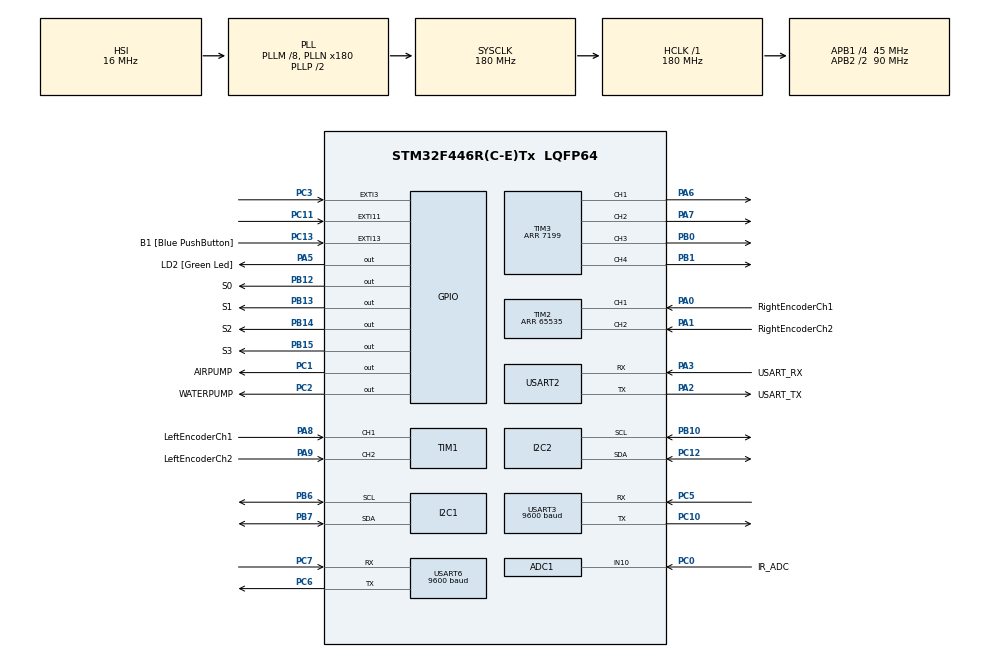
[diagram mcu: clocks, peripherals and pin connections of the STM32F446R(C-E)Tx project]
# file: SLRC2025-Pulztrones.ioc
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ADC1.Channel-0\#ChannelRegularConversion=ADC_CHANNEL_10
ADC1.ContinuousConvMode=ENABLE
ADC1.NbrOfConversionFlag=1
ADC1.Rank-0\#ChannelRegularConversion=1
ADC1.SamplingTime-0\#ChannelRegularConversion=ADC_SAMPLETIME_3CYCLES
ADC1.master=1
Dma.Request0=USART6_RX
Dma.USART6_RX.0.Direction=DMA_PERIPH_TO_MEMORY
Dma.USART6_RX.0.FIFOMode=DMA_FIFOMODE_DISABLE
Dma.USART6_RX.0.Instance=DMA2_Stream1
Dma.USART6_RX.0.MemDataAlignment=DMA_MDATAALIGN_BYTE
Dma.USART6_RX.0.MemInc=DMA_MINC_ENABLE
Dma.USART6_RX.0.Mode=DMA_NORMAL
Dma.USART6_RX.0.PeriphDataAlignment=DMA_PDATAALIGN_BYTE
Dma.USART6_RX.0.PeriphInc=DMA_PINC_DISABLE
Dma.USART6_RX.0.Priority=DMA_PRIORITY_LOW
I2C1.I2C_Mode=I2C_Fast
I2C2.I2C_Mode=I2C_Standard
Mcu.Family=STM32F4
Mcu.Name=STM32F446R(C-E)Tx
Mcu.Package=LQFP64
NVIC.DMA2_Stream1_IRQn=true\:0\:0\:false\:false\:true\:false\:true\:true
NVIC.EXTI15_10_IRQn=true\:0\:0\:false\:false\:true\:true\:true\:true
NVIC.EXTI3_IRQn=true\:0\:0\:false\:false\:true\:true\:true\:true
NVIC.PriorityGroup=NVIC_PRIORITYGROUP_0
NVIC.USART6_IRQn=true\:0\:0\:false\:false\:true\:true\:true\:true
PA0-WKUP.GPIO_Label=RightEncoderCh1 
PA0-WKUP.Signal=S_TIM2_CH1_ETR
PA1.GPIO_Label=RightEncoderCh2 
PA1.Signal=S_TIM2_CH2
PA13.GPIO_Label=TMS
PA13.Mode=Serial_Wire
PA13.Signal=SYS_JTMS-SWDIO
PA14.GPIO_Label=TCK
PA14.Mode=Serial_Wire
PA14.Signal=SYS_JTCK-SWCLK
PA2.GPIO_Label=USART_TX
PA2.Mode=Asynchronous
PA2.Signal=USART2_TX
PA3.GPIO_Label=USART_RX
PA3.Mode=Asynchronous
PA3.Signal=USART2_RX
PA5.GPIO_Label=LD2 [Green Led]
PA5.Signal=GPIO_Output
PA6.Signal=S_TIM3_CH1
PA7.Signal=S_TIM3_CH2
PA8.GPIO_Label=LeftEncoderCh1 
PA8.Signal=S_TIM1_CH1
PA9.GPIO_Label=LeftEncoderCh2
PA9.Signal=S_TIM1_CH2
PB0.Signal=S_TIM3_CH3
PB1.Signal=S_TIM3_CH4
PB10.Mode=I2C
PB10.Signal=I2C2_SCL
PB12.GPIO_Label=S0
PB12.GPIO_Speed=GPIO_SPEED_FREQ_VERY_HIGH
PB12.Signal=GPIO_Output
PB13.GPIO_Label=S1
PB13.GPIO_Speed=GPIO_SPEED_FREQ_VERY_HIGH
PB13.Signal=GPIO_Output
PB14.GPIO_Label=S2
PB14.GPIO_Speed=GPIO_SPEED_FREQ_VERY_HIGH
PB14.Signal=GPIO_Output
PB15.GPIO_Label=S3
PB15.GPIO_Speed=GPIO_SPEED_FREQ_VERY_HIGH
PB15.Signal=GPIO_Output
PB3.GPIO_Label=SWO
PB3.Signal=SYS_JTDO-SWO
PB6.Mode=I2C
PB6.Signal=I2C1_SCL
PB7.Mode=I2C
PB7.Signal=I2C1_SDA
PC0.GPIO_Label=IR_ADC
PC0.Signal=ADCx_IN10
PC1.GPIO_Label=AIRPUMP
PC1.GPIO_ModeDefaultOutputPP=GPIO_MODE_OUTPUT_PP
PC1.GPIO_PuPd=GPIO_NOPULL
PC1.GPIO_Speed=GPIO_SPEED_FREQ_HIGH
PC1.PinState=GPIO_PIN_RESET
PC1.Signal=GPIO_Output
PC10.Mode=Asynchronous
PC10.Signal=USART3_TX
PC11.GPIO_ModeDefaultEXTI=GPIO_MODE_IT_FALLING
PC11.Signal=GPXTI11
PC12.Mode=I2C
PC12.Signal=I2C2_SDA
PC13.GPIO_Label=B1 [Blue PushButton]
PC13.GPIO_ModeDefaultEXTI=GPIO_MODE_IT_FALLING
PC13.Signal=GPXTI13
PC14-OSC32_IN.Mode=LSE-External-Oscillator
PC14-OSC32_IN.Signal=RCC_OSC32_IN
PC15-OSC32_OUT.Mode=LSE-External-Oscillator
PC15-OSC32_OUT.Signal=RCC_OSC32_OUT
PC2.GPIO_Label=WATERPUMP
PC2.GPIO_ModeDefaultOutputPP=GPIO_MODE_OUTPUT_PP
PC2.GPIO_PuPd=GPIO_PULLUP
PC2.PinState=GPIO_PIN_SET
PC2.Signal=GPIO_Output
PC3.GPIO_ModeDefaultEXTI=GPIO_MODE_IT_RISING
PC3.Signal=GPXTI3
PC5.Mode=Asynchronous
PC5.Signal=USART3_RX
PC6.Mode=Asynchronous
PC6.Signal=USART6_TX
PC7.Mode=Asynchronous
PC7.Signal=USART6_RX
PH0-OSC_IN.Mode=HSE-External-Oscillator
PH0-OSC_IN.Signal=RCC_OSC_IN
PH1-OSC_OUT.Mode=HSE-External-Oscillator
PH1-OSC_OUT.Signal=RCC_OSC_OUT
ProjectManager.HeapSize=0x200
ProjectManager.StackSize=0x400
ProjectManager.TargetToolchain=STM32CubeIDE
RCC.48MHZClocksFreq_Value=84000000
RCC.AHBFreq_Value=180000000
RCC.APB1CLKDivider=RCC_HCLK_DIV4
RCC.APB1Freq_Value=45000000
RCC.APB1TimFreq_Value=90000000
RCC.APB2CLKDivider=RCC_HCLK_DIV2
RCC.APB2Freq_Value=90000000
RCC.APB2TimFreq_Value=180000000
RCC.CortexFreq_Value=180000000
RCC.FLatency-AdvancedSettings=FLASH_LATENCY_5
RCC.HCLKFreq_Value=180000000
RCC.HSE_VALUE=8000000
RCC.HSI_VALUE=16000000
RCC.PLLM=8
RCC.PLLN=180
RCC.SYSCLKFreq_VALUE=180000000
RCC.SYSCLKSource=RCC_SYSCLKSOURCE_PLLCLK
RCC.USBFreq_Value=180000000
RCC.VCOOutputFreq_Value=360000000
SH.ADCx_IN10.0=ADC1_IN10,IN10
SH.S_TIM1_CH1.0=TIM1_CH1,Encoder_Interface
SH.S_TIM1_CH2.0=TIM1_CH2,Encoder_Interface
SH.S_TIM2_CH1_ETR.0=TIM2_CH1,Encoder_Interface
SH.S_TIM2_CH2.0=TIM2_CH2,Encoder_Interface
SH.S_TIM3_CH1.0=TIM3_CH1,PWM Generation1 CH1
SH.S_TIM3_CH2.0=TIM3_CH2,PWM Generation2 CH2
SH.S_TIM3_CH3.0=TIM3_CH3,PWM Generation3 CH3
SH.S_TIM3_CH4.0=TIM3_CH4,PWM Generation4 CH4
TIM1.EncoderMode=TIM_ENCODERMODE_TI12
TIM2.EncoderMode=TIM_ENCODERMODE_TI12
TIM2.Period=65535
TIM3.Channel-PWM\ Generation1\ CH1=TIM_CHANNEL_1
TIM3.Channel-PWM\ Generation2\ CH2=TIM_CHANNEL_2
TIM3.Channel-PWM\ Generation3\ CH3=TIM_CHANNEL_3
TIM3.Channel-PWM\ Generation4\ CH4=TIM_CHANNEL_4
TIM3.Period=7199
USART2.VirtualMode=VM_ASYNC
USART3.BaudRate=9600
USART3.VirtualMode=VM_ASYNC
USART6.BaudRate=9600
USART6.VirtualMode=VM_ASYNC
board=NUCLEO-F446RE

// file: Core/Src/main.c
/* USER CODE BEGIN Header */
/**
  ******************************************************************************
  * @file           : main.c
  * @brief          : Main program body
  ******************************************************************************
  * @attention
  *
  * Copyright (c) 2025 STMicroelectronics.
  * All rights reserved.
  *
  * This software is licensed under terms that can be found in the LICENSE file
  * in the root directory of this software component.
  * If no LICENSE file comes with this software, it is provided AS-IS.
  *
  ******************************************************************************
  */
/* USER CODE END Header */
#include "main.h"

/* USER CODE BEGIN Includes */
#include "encoders.h"
#include "motors.h"
#include "pca9685.h"
#include "math.h"
#include <string.h>
#include <stdio.h>
#include "servo.h"
#include "analog_mux.h"
#include "raykha.h"
#include "buzzer.h"
#include "vl53l0x_api.h"
#include "ssd1306.h"
#include "fonts.h"
#include "bitmap.h"
#include "uartcom.h"
#include "systick.h"
#include "motion.h"
#include "profile.h"
#include "controller.h"
#include "sensors.h"
#include "string.h"
#include "stdio.h"
#include "robot.h"
#include "tasks.h"
#include "ballstorage.h"
#include "arm_controller.h"
#include "PCA9548A.h"
#include "TCS3472.h"
#include "irs.h"
#include "display.h"
#include "box_manupilation.h"

/* USER CODE END Includes */

/* USER CODE BEGIN PD */
#define BUFFER_SIZE 50

/* USER CODE END PD */

ADC_HandleTypeDef hadc1;

I2C_HandleTypeDef hi2c1;
I2C_HandleTypeDef hi2c2;

TIM_HandleTypeDef htim1;
TIM_HandleTypeDef htim2;
TIM_HandleTypeDef htim3;

UART_HandleTypeDef huart2;
UART_HandleTypeDef huart3;
UART_HandleTypeDef huart6;
DMA_HandleTypeDef hdma_usart6_rx;

/* USER CODE BEGIN PV */
volatile uint8_t systick_function_enabled = 0;

int16_t left_counts = 0;
int16_t right_counts = 0;

RAYKHA_Calibration raykha_calibration;
uint8_t calibration_complete = 0;

volatile uint8_t task_ready = 0;  // Global flag

extern uint16_t r_line, g_line, b_line, c_line;
extern uint16_t r_obj, g_obj, b_obj, c_obj;
extern Color line_color, object_color;

char buffer[100];

volatile TaskType currentTask = TASK_NONE;

extern volatile SensorChannel lfs, lrs, fs, rfs, rrs;
extern volatile uint8_t see_front_wall;
extern volatile uint8_t see_box;

/* USER CODE END PV */

void SystemClock_Config(void);
static void MX_GPIO_Init(void);
static void MX_DMA_Init(void);
static void MX_USART2_UART_Init(void);
static void MX_TIM1_Init(void);
static void MX_TIM2_Init(void);
static void MX_I2C2_Init(void);
static void MX_USART3_UART_Init(void);
static void MX_USART6_UART_Init(void);
static void MX_ADC1_Init(void);
static void MX_I2C1_Init(void);
static void MX_TIM3_Init(void);

/* USER CODE BEGIN 0 */
Motion motion;
Profile forward_profile;
Profile rotation_profile;
Controller controller;

i2c_mux_t mux = {
    .hi2c = &hi2c1,   // Assign I2C1 handle
    .rst_port = NULL,  // No reset pin used (set if needed)
    .rst_pin = 0,      // No reset pin used
    .addr_offset = 0   // Change if the address is modified by A0-A2 pins
};

/* USER CODE END 0 */

int main(void)
{

	/* MCU Configuration--------------------------------------------------------*/

	/* Reset of all peripherals, Initializes the Flash interface and the Systick. */
	HAL_Init();

	/* Configure the system clock */
	SystemClock_Config();

	/* Initialize all configured peripherals */
	MX_GPIO_Init();
	MX_DMA_Init();
	MX_USART2_UART_Init();
	MX_TIM1_Init();
	MX_TIM2_Init();
	MX_I2C2_Init();
	MX_USART3_UART_Init();
	MX_USART6_UART_Init();
	MX_ADC1_Init();
	MX_I2C1_Init();
	MX_TIM3_Init();
	/* USER CODE BEGIN 2 */
	HAL_TIM_Encoder_Start(&htim1, TIM_CHANNEL_ALL);
	HAL_TIM_Encoder_Start(&htim2, TIM_CHANNEL_ALL);

	HAL_TIM_PWM_Start(&htim3, TIM_CHANNEL_1);
	HAL_TIM_PWM_Start(&htim3, TIM_CHANNEL_2);
	HAL_TIM_PWM_Start(&htim3, TIM_CHANNEL_3);
	HAL_TIM_PWM_Start(&htim3, TIM_CHANNEL_4);

	turn_on_air_pump();
	turn_on_water_pump();

	HAL_Delay(5000);
	turn_off_air_pump();

	/*--------------------- OLED Display --------------------------------*/
	Init_Display();

	/*---------------------Delay--------------------------------*/
	Delay_Init();
	/*-------------------------------------------------------------------*/

	/*---------------------Servos--------------------------------*/
	// Initialize servo system
	Servo_Init(50);  // 50Hz frequency for servos
	// Initialize arm
	Arm_Init();

	// Init ball storage
	init_ball_storage();

	/*-------------------------------------------------------------------*/

	Controller_Init(&controller);
	Profile_Reset(&forward_profile);
	Profile_Reset(&rotation_profile);
	Motion_Init(&motion, &controller, &forward_profile, &rotation_profile);
	Controller_ResetControllers(&controller);

	Buzzer_UniquePattern();

	Buzzer_Toggle(200);
	HAL_Delay(2000);
	/*--------------- Raykha calibration ----------------------------------*/
	//RAYKHA_Calibrate(&raykha_calibration, RAYKHA_LINE_WHITE);
	/*-------------------------------------------------------------------*/
	HAL_Delay(2000);
	//Buzzer_Toggle(200);

	/*----------------- Begin color sensor init--------------------------------*/
	Buzzer_Toggle(100);
	//init_color_sensors();
	//caliberate_color_sensors();

	/*--------------- End color sensor init-----------------------------------*/

	//display_big_number(2);

  //---------------- End of Motion controller tests---------------------------------------------
	//box_manupilation();
	//selectTask();

  /* USER CODE END 2 */

  /* Infinite loop */
  while (1)
  {

    /* USER CODE BEGIN 3 */

	  //runCurrentTask();
	  //RangeAllIRSensors();

//	  Color Ball_color = GetBallColor();
//	  HAL_Delay(600);

//	  if (task_ready){
//		  task_ready = 0;
//
//		HAL_Delay(200);
//
//	EnableSysTickFunction();
//
//		runCurrentTask(TASK_PLANTATION);
//
//		Buzzer_Toggle(500);
//
//		runCurrentTask(TASK_SORTING_POTATOS);
//
//		Buzzer_TaskCompletion();
//
//	  }

	  left_counts = getLeftEncoderCounts();
	  right_counts = getRightEncoderCounts();
	  //UART_Transmit_IR(&huart3, left_counts, right_counts);

	  setMotorLPWM(0.5);
	  setMotorRPWM(0.5);
  }
  /* USER CODE END 3 */
}

void SystemClock_Config(void)
{
  RCC_OscInitTypeDef RCC_OscInitStruct = {0};
  RCC_ClkInitTypeDef RCC_ClkInitStruct = {0};

  /** Configure the main internal regulator output voltage
  */
  __HAL_RCC_PWR_CLK_ENABLE();
  __HAL_PWR_VOLTAGESCALING_CONFIG(PWR_REGULATOR_VOLTAGE_SCALE1);

  /** Initializes the RCC Oscillators according to the specified parameters
  * in the RCC_OscInitTypeDef structure.
  */
  RCC_OscInitStruct.OscillatorType = RCC_OSCILLATORTYPE_HSI;
  RCC_OscInitStruct.HSIState = RCC_HSI_ON;
  RCC_OscInitStruct.HSICalibrationValue = RCC_HSICALIBRATION_DEFAULT;
  RCC_OscInitStruct.PLL.PLLState = RCC_PLL_ON;
  RCC_OscInitStruct.PLL.PLLSource = RCC_PLLSOURCE_HSI;
  RCC_OscInitStruct.PLL.PLLM = 8;
  RCC_OscInitStruct.PLL.PLLN = 180;
  RCC_OscInitStruct.PLL.PLLP = RCC_PLLP_DIV2;
  RCC_OscInitStruct.PLL.PLLQ = 2;
  RCC_OscInitStruct.PLL.PLLR = 2;
  if (HAL_RCC_OscConfig(&RCC_OscInitStruct) != HAL_OK)
  {
    Error_Handler();
  }

  /** Activate the Over-Drive mode
  */
  if (HAL_PWREx_EnableOverDrive() != HAL_OK)
  {
    Error_Handler();
  }

  /** Initializes the CPU, AHB and APB buses clocks
  */
  RCC_ClkInitStruct.ClockType = RCC_CLOCKTYPE_HCLK|RCC_CLOCKTYPE_SYSCLK
                              |RCC_CLOCKTYPE_PCLK1|RCC_CLOCKTYPE_PCLK2;
  RCC_ClkInitStruct.SYSCLKSource = RCC_SYSCLKSOURCE_PLLCLK;
  RCC_ClkInitStruct.AHBCLKDivider = RCC_SYSCLK_DIV1;
  RCC_ClkInitStruct.APB1CLKDivider = RCC_HCLK_DIV4;
  RCC_ClkInitStruct.APB2CLKDivider = RCC_HCLK_DIV2;

  if (HAL_RCC_ClockConfig(&RCC_ClkInitStruct, FLASH_LATENCY_5) != HAL_OK)
  {
    Error_Handler();
  }
}

static void MX_ADC1_Init(void)
{

  ADC_ChannelConfTypeDef sConfig = {0};

  /** Configure the global features of the ADC (Clock, Resolution, Data Alignment and number of conversion)
  */
  hadc1.Instance = ADC1;
  hadc1.Init.ClockPrescaler = ADC_CLOCK_SYNC_PCLK_DIV4;
  hadc1.Init.Resolution = ADC_RESOLUTION_12B;
  hadc1.Init.ScanConvMode = DISABLE;
  hadc1.Init.ContinuousConvMode = ENABLE;
  hadc1.Init.DiscontinuousConvMode = DISABLE;
  hadc1.Init.ExternalTrigConvEdge = ADC_EXTERNALTRIGCONVEDGE_NONE;
  hadc1.Init.ExternalTrigConv = ADC_SOFTWARE_START;
  hadc1.Init.DataAlign = ADC_DATAALIGN_RIGHT;
  hadc1.Init.NbrOfConversion = 1;
  hadc1.Init.DMAContinuousRequests = DISABLE;
  hadc1.Init.EOCSelection = ADC_EOC_SINGLE_CONV;
  if (HAL_ADC_Init(&hadc1) != HAL_OK)
  {
    Error_Handler();
  }

  /** Configure for the selected ADC regular channel its corresponding rank in the sequencer and its sample time.
  */
  sConfig.Channel = ADC_CHANNEL_10;
  sConfig.Rank = 1;
  sConfig.SamplingTime = ADC_SAMPLETIME_3CYCLES;
  if (HAL_ADC_ConfigChannel(&hadc1, &sConfig) != HAL_OK)
  {
    Error_Handler();
  }

}

static void MX_I2C1_Init(void)
{

  hi2c1.Instance = I2C1;
  hi2c1.Init.ClockSpeed = 400000;
  hi2c1.Init.DutyCycle = I2C_DUTYCYCLE_2;
  hi2c1.Init.OwnAddress1 = 0;
  hi2c1.Init.AddressingMode = I2C_ADDRESSINGMODE_7BIT;
  hi2c1.Init.DualAddressMode = I2C_DUALADDRESS_DISABLE;
  hi2c1.Init.OwnAddress2 = 0;
  hi2c1.Init.GeneralCallMode = I2C_GENERALCALL_DISABLE;
  hi2c1.Init.NoStretchMode = I2C_NOSTRETCH_DISABLE;
  if (HAL_I2C_Init(&hi2c1) != HAL_OK)
  {
    Error_Handler();
  }

}

static void MX_I2C2_Init(void)
{

  hi2c2.Instance = I2C2;
  hi2c2.Init.ClockSpeed = 100000;
  hi2c2.Init.DutyCycle = I2C_DUTYCYCLE_2;
  hi2c2.Init.OwnAddress1 = 0;
  hi2c2.Init.AddressingMode = I2C_ADDRESSINGMODE_7BIT;
  hi2c2.Init.DualAddressMode = I2C_DUALADDRESS_DISABLE;
  hi2c2.Init.OwnAddress2 = 0;
  hi2c2.Init.GeneralCallMode = I2C_GENERALCALL_DISABLE;
  hi2c2.Init.NoStretchMode = I2C_NOSTRETCH_DISABLE;
  if (HAL_I2C_Init(&hi2c2) != HAL_OK)
  {
    Error_Handler();
  }

}

static void MX_TIM1_Init(void)
{

  TIM_Encoder_InitTypeDef sConfig = {0};
  TIM_MasterConfigTypeDef sMasterConfig = {0};

  htim1.Instance = TIM1;
  htim1.Init.Prescaler = 0;
  htim1.Init.CounterMode = TIM_COUNTERMODE_UP;
  htim1.Init.Period = 65535;
  htim1.Init.ClockDivision = TIM_CLOCKDIVISION_DIV1;
  htim1.Init.RepetitionCounter = 0;
  htim1.Init.AutoReloadPreload = TIM_AUTORELOAD_PRELOAD_DISABLE;
  sConfig.EncoderMode = TIM_ENCODERMODE_TI12;
  sConfig.IC1Polarity = TIM_ICPOLARITY_RISING;
  sConfig.IC1Selection = TIM_ICSELECTION_DIRECTTI;
  sConfig.IC1Prescaler = TIM_ICPSC_DIV1;
  sConfig.IC1Filter = 0;
  sConfig.IC2Polarity = TIM_ICPOLARITY_RISING;
  sConfig.IC2Selection = TIM_ICSELECTION_DIRECTTI;
  sConfig.IC2Prescaler = TIM_ICPSC_DIV1;
  sConfig.IC2Filter = 0;
  if (HAL_TIM_Encoder_Init(&htim1, &sConfig) != HAL_OK)
  {
    Error_Handler();
  }
  sMasterConfig.MasterOutputTrigger = TIM_TRGO_RESET;
  sMasterConfig.MasterSlaveMode = TIM_MASTERSLAVEMODE_DISABLE;
  if (HAL_TIMEx_MasterConfigSynchronization(&htim1, &sMasterConfig) != HAL_OK)
  {
    Error_Handler();
  }

}

static void MX_TIM2_Init(void)
{

  TIM_Encoder_InitTypeDef sConfig = {0};
  TIM_MasterConfigTypeDef sMasterConfig = {0};

  htim2.Instance = TIM2;
  htim2.Init.Prescaler = 0;
  htim2.Init.CounterMode = TIM_COUNTERMODE_UP;
  htim2.Init.Period = 65535;
  htim2.Init.ClockDivision = TIM_CLOCKDIVISION_DIV1;
  htim2.Init.AutoReloadPreload = TIM_AUTORELOAD_PRELOAD_DISABLE;
  sConfig.EncoderMode = TIM_ENCODERMODE_TI12;
  sConfig.IC1Polarity = TIM_ICPOLARITY_RISING;
  sConfig.IC1Selection = TIM_ICSELECTION_DIRECTTI;
  sConfig.IC1Prescaler = TIM_ICPSC_DIV1;
  sConfig.IC1Filter = 0;
  sConfig.IC2Polarity = TIM_ICPOLARITY_RISING;
  sConfig.IC2Selection = TIM_ICSELECTION_DIRECTTI;
  sConfig.IC2Prescaler = TIM_ICPSC_DIV1;
  sConfig.IC2Filter = 0;
  if (HAL_TIM_Encoder_Init(&htim2, &sConfig) != HAL_OK)
  {
    Error_Handler();
  }
  sMasterConfig.MasterOutputTrigger = TIM_TRGO_RESET;
  sMasterConfig.MasterSlaveMode = TIM_MASTERSLAVEMODE_DISABLE;
  if (HAL_TIMEx_MasterConfigSynchronization(&htim2, &sMasterConfig) != HAL_OK)
  {
    Error_Handler();
  }

}

static void MX_TIM3_Init(void)
{

  TIM_MasterConfigTypeDef sMasterConfig = {0};
  TIM_OC_InitTypeDef sConfigOC = {0};

  htim3.Instance = TIM3;
  htim3.Init.Prescaler = 0;
  htim3.Init.CounterMode = TIM_COUNTERMODE_UP;
  htim3.Init.Period = 7199;
  htim3.Init.ClockDivision = TIM_CLOCKDIVISION_DIV1;
  htim3.Init.AutoReloadPreload = TIM_AUTORELOAD_PRELOAD_DISABLE;
  if (HAL_TIM_PWM_Init(&htim3) != HAL_OK)
  {
    Error_Handler();
  }
  sMasterConfig.MasterOutputTrigger = TIM_TRGO_RESET;
  sMasterConfig.MasterSlaveMode = TIM_MASTERSLAVEMODE_DISABLE;
  if (HAL_TIMEx_MasterConfigSynchronization(&htim3, &sMasterConfig) != HAL_OK)
  {
    Error_Handler();
  }
  sConfigOC.OCMode = TIM_OCMODE_PWM1;
  sConfigOC.Pulse = 0;
  sConfigOC.OCPolarity = TIM_OCPOLARITY_HIGH;
  sConfigOC.OCFastMode = TIM_OCFAST_DISABLE;
  if (HAL_TIM_PWM_ConfigChannel(&htim3, &sConfigOC, TIM_CHANNEL_1) != HAL_OK)
  {
    Error_Handler();
  }
  if (HAL_TIM_PWM_ConfigChannel(&htim3, &sConfigOC, TIM_CHANNEL_2) != HAL_OK)
  {
    Error_Handler();
  }
  if (HAL_TIM_PWM_ConfigChannel(&htim3, &sConfigOC, TIM_CHANNEL_3) != HAL_OK)
  {
    Error_Handler();
  }
  if (HAL_TIM_PWM_ConfigChannel(&htim3, &sConfigOC, TIM_CHANNEL_4) != HAL_OK)
  {
    Error_Handler();
  }
  HAL_TIM_MspPostInit(&htim3);

}

static void MX_USART2_UART_Init(void)
{

  huart2.Instance = USART2;
  huart2.Init.BaudRate = 115200;
  huart2.Init.WordLength = UART_WORDLENGTH_8B;
  huart2.Init.StopBits = UART_STOPBITS_1;
  huart2.Init.Parity = UART_PARITY_NONE;
  huart2.Init.Mode = UART_MODE_TX_RX;
  huart2.Init.HwFlowCtl = UART_HWCONTROL_NONE;
  huart2.Init.OverSampling = UART_OVERSAMPLING_16;
  if (HAL_UART_Init(&huart2) != HAL_OK)
  {
    Error_Handler();
  }

}

static void MX_USART3_UART_Init(void)
{

  huart3.Instance = USART3;
  huart3.Init.BaudRate = 9600;
  huart3.Init.WordLength = UART_WORDLENGTH_8B;
  huart3.Init.StopBits = UART_STOPBITS_1;
  huart3.Init.Parity = UART_PARITY_NONE;
  huart3.Init.Mode = UART_MODE_TX_RX;
  huart3.Init.HwFlowCtl = UART_HWCONTROL_NONE;
  huart3.Init.OverSampling = UART_OVERSAMPLING_16;
  if (HAL_UART_Init(&huart3) != HAL_OK)
  {
    Error_Handler();
  }

}

static void MX_USART6_UART_Init(void)
{

  huart6.Instance = USART6;
  huart6.Init.BaudRate = 9600;
  huart6.Init.WordLength = UART_WORDLENGTH_8B;
  huart6.Init.StopBits = UART_STOPBITS_1;
  huart6.Init.Parity = UART_PARITY_NONE;
  huart6.Init.Mode = UART_MODE_TX_RX;
  huart6.Init.HwFlowCtl = UART_HWCONTROL_NONE;
  huart6.Init.OverSampling = UART_OVERSAMPLING_16;
  if (HAL_UART_Init(&huart6) != HAL_OK)
  {
    Error_Handler();
  }

}

static void MX_DMA_Init(void)
{

  /* DMA controller clock enable */
  __HAL_RCC_DMA2_CLK_ENABLE();

  /* DMA interrupt init */
  /* DMA2_Stream1_IRQn interrupt configuration */
  HAL_NVIC_SetPriority(DMA2_Stream1_IRQn, 0, 0);
  HAL_NVIC_EnableIRQ(DMA2_Stream1_IRQn);

}

static void MX_GPIO_Init(void)
{
  GPIO_InitTypeDef GPIO_InitStruct = {0};

  /* GPIO Ports Clock Enable */
  __HAL_RCC_GPIOC_CLK_ENABLE();
  __HAL_RCC_GPIOH_CLK_ENABLE();
  __HAL_RCC_GPIOA_CLK_ENABLE();
  __HAL_RCC_GPIOB_CLK_ENABLE();

  /*Configure GPIO pin Output Level */
  HAL_GPIO_WritePin(AIRPUMP_GPIO_Port, AIRPUMP_Pin, GPIO_PIN_RESET);

  /*Configure GPIO pin Output Level */
  HAL_GPIO_WritePin(WATERPUMP_GPIO_Port, WATERPUMP_Pin, GPIO_PIN_SET);

  /*Configure GPIO pin Output Level */
  HAL_GPIO_WritePin(LD2_GPIO_Port, LD2_Pin, GPIO_PIN_RESET);

  /*Configure GPIO pin Output Level */
  HAL_GPIO_WritePin(GPIOB, S0_Pin|S1_Pin|S2_Pin|S3_Pin, GPIO_PIN_RESET);

  /*Configure GPIO pins : B1_Pin PC11 */
  GPIO_InitStruct.Pin = B1_Pin|GPIO_PIN_11;
  GPIO_InitStruct.Mode = GPIO_MODE_IT_FALLING;
  GPIO_InitStruct.Pull = GPIO_NOPULL;
  HAL_GPIO_Init(GPIOC, &GPIO_InitStruct);

  /*Configure GPIO pin : AIRPUMP_Pin */
  GPIO_InitStruct.Pin = AIRPUMP_Pin;
  GPIO_InitStruct.Mode = GPIO_MODE_OUTPUT_PP;
  GPIO_InitStruct.Pull = GPIO_NOPULL;
  GPIO_InitStruct.Speed = GPIO_SPEED_FREQ_HIGH;
  HAL_GPIO_Init(AIRPUMP_GPIO_Port, &GPIO_InitStruct);

  /*Configure GPIO pin : WATERPUMP_Pin */
  GPIO_InitStruct.Pin = WATERPUMP_Pin;
  GPIO_InitStruct.Mode = GPIO_MODE_OUTPUT_PP;
  GPIO_InitStruct.Pull = GPIO_PULLUP;
  GPIO_InitStruct.Speed = GPIO_SPEED_FREQ_LOW;
  HAL_GPIO_Init(WATERPUMP_GPIO_Port, &GPIO_InitStruct);

  /*Configure GPIO pin : PC3 */
  GPIO_InitStruct.Pin = GPIO_PIN_3;
  GPIO_InitStruct.Mode = GPIO_MODE_IT_RISING;
  GPIO_InitStruct.Pull = GPIO_NOPULL;
  HAL_GPIO_Init(GPIOC, &GPIO_InitStruct);

  /*Configure GPIO pin : LD2_Pin */
  GPIO_InitStruct.Pin = LD2_Pin;
  GPIO_InitStruct.Mode = GPIO_MODE_OUTPUT_PP;
  GPIO_InitStruct.Pull = GPIO_NOPULL;
  GPIO_InitStruct.Speed = GPIO_SPEED_FREQ_LOW;
  HAL_GPIO_Init(LD2_GPIO_Port, &GPIO_InitStruct);

  /*Configure GPIO pins : S0_Pin S1_Pin S2_Pin S3_Pin */
  GPIO_InitStruct.Pin = S0_Pin|S1_Pin|S2_Pin|S3_Pin;
  GPIO_InitStruct.Mode = GPIO_MODE_OUTPUT_PP;
  GPIO_InitStruct.Pull = GPIO_NOPULL;
  GPIO_InitStruct.Speed = GPIO_SPEED_FREQ_VERY_HIGH;
  HAL_GPIO_Init(GPIOB, &GPIO_InitStruct);

  /* EXTI interrupt init*/
  HAL_NVIC_SetPriority(EXTI3_IRQn, 0, 0);
  HAL_NVIC_EnableIRQ(EXTI3_IRQn);

  HAL_NVIC_SetPriority(EXTI15_10_IRQn, 0, 0);
  HAL_NVIC_EnableIRQ(EXTI15_10_IRQn);

}

void Error_Handler(void)
{
  /* USER CODE BEGIN Error_Handler_Debug */
  /* User can add his own implementation to report the HAL error return state */
  __disable_irq();
  while (1)
  {
	  Buzzer_ErrorPattern();
  }
  /* USER CODE END Error_Handler_Debug */
}
